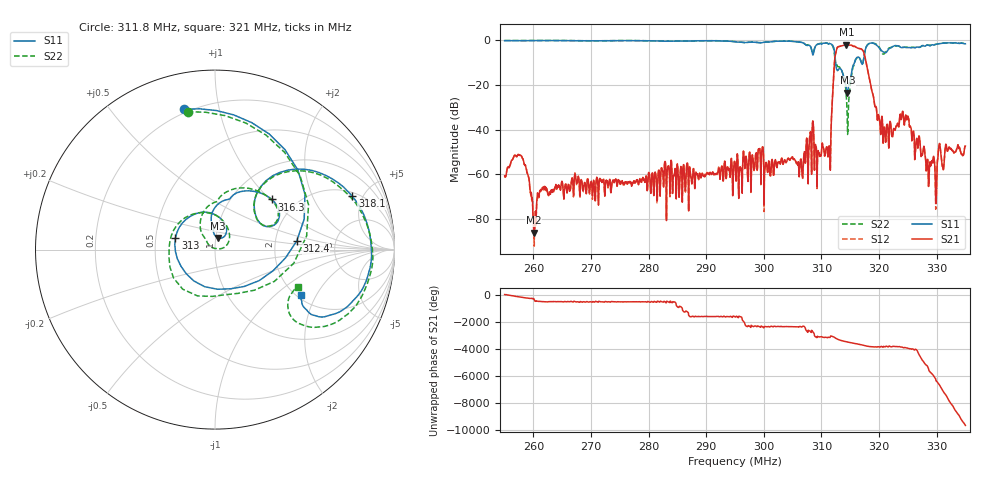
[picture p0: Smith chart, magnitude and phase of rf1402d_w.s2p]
!RF1402D,  DEMO1 ,wide,BN,8/25/06
# HZ S RI R 50
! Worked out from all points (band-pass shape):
!   1601 points, 255 MHz to 335 MHz, reference 50 ohm
!   highest |S21| = -1.90 dB at 314.4 MHz (marker M1); lowest = -86.4 dB at 260.1 MHz (marker M2)
!   |S21| within 3 dB of the highest: 312.6 MHz to 317.3 MHz (4.699 MHz wide, 1.49 % of centre)
!   lowest |S11| = -23.4 dB at 314.5 MHz (marker M3), VSWR 1.14, Z = 51.2 + j6.73 ohm
!   |S11| at or under -10 dB: 312.5 MHz to 315.7 MHz (3.252 MHz wide, 1.04 % of centre); 316.9467 MHz to 317.2207 MHz (273.9 kHz wide, 0.0864 % of centre)
!   |S22| runs from -42.2 to 0.0 dB; largest |S21 - S12| = 0.0073
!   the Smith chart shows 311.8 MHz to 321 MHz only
!   S11 on the Smith chart (normalised r, x): 311.8 MHz: 0.18, +0.79; 312.4 MHz: 2.64, +0.32; 313 MHz: 0.63, +0.08; 316.3 MHz: 1.51, +1.02; 318.1 MHz: 2.28, +4.14; 321 MHz: 2.13, -1.51
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2.55e8  0.4421 -0.88  0.000736 0.000532  0.000721 0.000473  0.4402 -0.8877
2.5785e8  0.4234 -0.8869  -0.00243 -0.00094  -0.00244 -0.000918  0.4215 -0.8942
2.6005e8  0.4148 -0.8967  -9.7e-06 4.71e-05  5.1e-06 7.39e-05  0.4111 -0.9033
2.6835e8  0.3449 -0.9181  -0.000647 -0.000336  -0.000615 -0.000351  0.3394 -0.9246
2.817e8  0.2064 -0.9467  -0.000449 -0.00102  -0.00047 -0.00103  0.2032 -0.9473
2.95e8  -0.0438 -0.9257  -0.00172 -0.000385  -0.00178 -0.000417  -0.0355 -0.938
3.0645e8  -0.5872 -0.6921  -0.00213 0.000143  -0.00216 0.000236  -0.5653 -0.7189
3.0835e8  -0.5174 -0.2503  -0.00177 -0.00505  -0.00202 -0.00514  -0.4975 -0.3132
3.112e8  -0.7507 0.355  -0.00161 0.00275  -0.00159 0.00274  -0.7778 0.2991
3.1185e8  -0.1739 0.7813  -0.0342 -0.00284  -0.0345 -0.00291  -0.1528 0.7686
3.1235e8  0.4552 0.0476  0.0723 0.4118  0.0786 0.411  0.3306 -0.1772
3.1305e8  -0.2209 0.0625  0.2186 -0.6944  0.213 -0.6931  -0.2341 0.1016
3.1375e8  0.0314 0.1731  -0.7238 -0.2615  -0.7231 -0.2595  0.0383 0.1668
3.1435e8  0.0397 0.0656  -0.6148 0.5176  -0.6099 0.5191  0.0496 0.0112
3.145e8  0.0162 0.0654  -0.4661 0.6502  -0.4616 0.65  0.0146 0.00481
3.163e8  0.3165 0.2794  0.6122 -0.2761  0.612 -0.2743  0.288 0.2993
3.181e8  0.7648 0.2971  -0.1889 0.054  -0.1887 0.053  0.7626 0.2845
3.2095e8  0.4815 -0.2502  -0.00806 0.00759  -0.00798 0.00755  0.4647 -0.2062
3.217e8  0.6075 -0.2063  -0.00368 0.00106  -0.00374 0.000913  0.6256 -0.2395
3.249e8  0.5461 -0.4254  0.0136 0.0117  0.0138 0.0117  0.5348 -0.45
3.297e8  0.6087 -0.5151  0.0014 9.1e-06  0.00147 -4.17e-05  0.5932 -0.5453
3.35e8  0.4824 -0.6879  0.00134 0.00403  0.00149 0.00404  0.4557 -0.703
